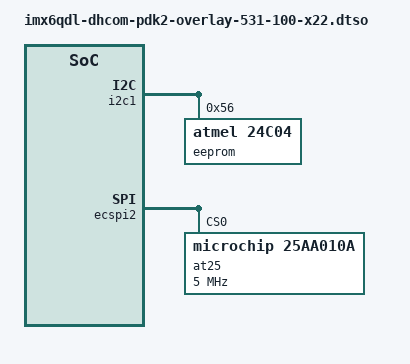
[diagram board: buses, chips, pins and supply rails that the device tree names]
// SPDX-License-Identifier: (GPL-2.0+ OR BSD-3-Clause)
/*
 * Copyright (C) 2021 Marek Vasut <marex@denx.de>
 */
/dts-v1/;
/plugin/;

&i2c1 {
	#address-cells = <1>;
	#size-cells = <0>;

	eeprom@56 {
		compatible = "atmel,24c04";
		reg = <0x56>;
		pagesize = <16>;
	};
};

&ecspi2 {
	#address-cells = <1>;
	#size-cells = <0>;
	status = "okay";

	at25@0 {
		compatible = "microchip,25aa010a", "atmel,at25";
		reg = <0>;
		spi-max-frequency = <5000000>;

		at25,byte-len = <128>;
		at25,addr-mode = <1>;
		at25,page-size = <16>;
	};
};
